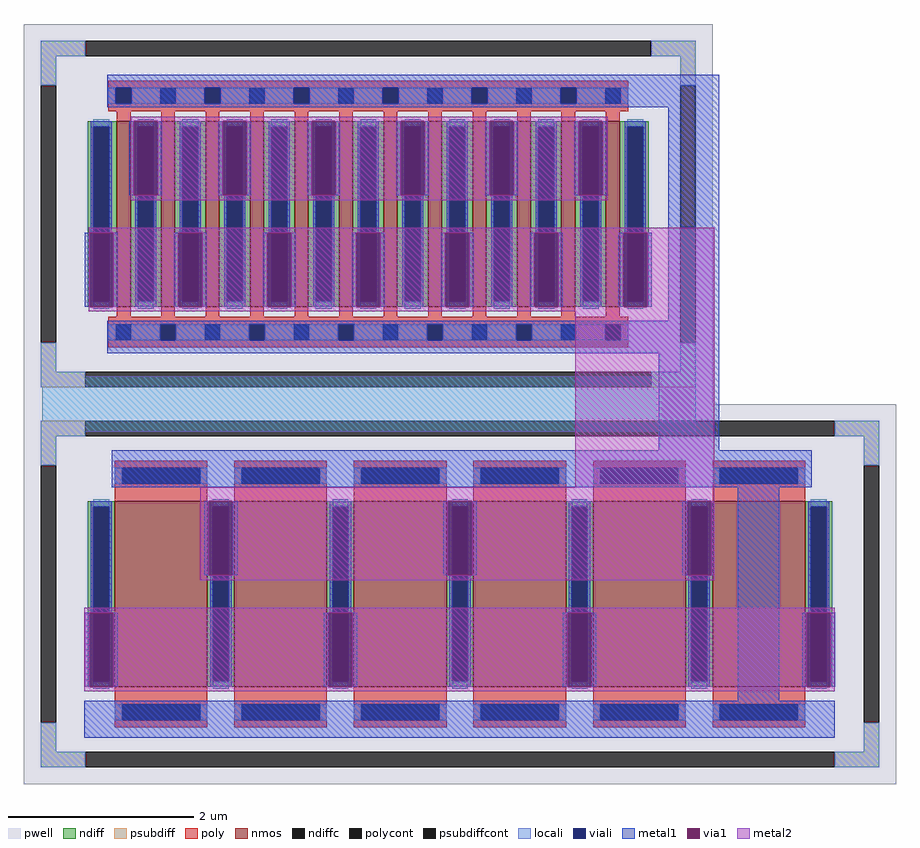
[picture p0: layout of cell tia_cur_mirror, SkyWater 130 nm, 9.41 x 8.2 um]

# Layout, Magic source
magic
tech sky130A
magscale 1 2
<< pwell >>
rect 122 552 1244 618
rect 122 42 1244 108
rect 130 -260 1640 -180
<< poly >>
rect 122 602 1244 618
rect 122 568 138 602
rect 172 568 330 602
rect 364 568 522 602
rect 556 568 714 602
rect 748 568 906 602
rect 940 568 1098 602
rect 1132 568 1244 602
rect 122 552 1244 568
rect 122 92 1244 108
rect 122 58 234 92
rect 268 58 426 92
rect 460 58 618 92
rect 652 58 810 92
rect 844 58 1002 92
rect 1036 58 1194 92
rect 1228 58 1244 92
rect 122 42 1244 58
<< polycont >>
rect 138 568 172 602
rect 330 568 364 602
rect 522 568 556 602
rect 714 568 748 602
rect 906 568 940 602
rect 1098 568 1132 602
rect 234 58 268 92
rect 426 58 460 92
rect 618 58 652 92
rect 810 58 844 92
rect 1002 58 1036 92
rect 1194 58 1228 92
<< locali >>
rect 122 568 138 602
rect 172 568 330 602
rect 364 568 522 602
rect 556 568 714 602
rect 748 568 906 602
rect 940 568 1098 602
rect 1132 568 1244 602
rect 122 58 234 92
rect 268 58 426 92
rect 460 58 618 92
rect 652 58 810 92
rect 844 58 1002 92
rect 1036 58 1194 92
rect 1228 58 1244 92
rect -20 -140 1390 -20
<< viali >>
rect 138 568 172 602
rect 330 568 364 602
rect 522 568 556 602
rect 714 568 748 602
rect 906 568 940 602
rect 1098 568 1132 602
rect 234 58 268 92
rect 426 58 460 92
rect 618 58 652 92
rect 810 58 844 92
rect 1002 58 1036 92
rect 1194 58 1228 92
<< metal1 >>
rect 120 602 1440 630
rect 120 568 138 602
rect 172 568 330 602
rect 364 568 522 602
rect 556 568 714 602
rect 748 568 906 602
rect 940 568 1098 602
rect 1132 568 1440 602
rect 120 560 1440 568
rect 167 370 177 530
rect 229 370 239 530
rect 359 370 369 530
rect 421 370 431 530
rect 551 370 561 530
rect 613 370 623 530
rect 743 370 753 530
rect 805 370 815 530
rect 935 370 945 530
rect 997 370 1007 530
rect 1127 370 1137 530
rect 1189 370 1199 530
rect 71 130 81 290
rect 133 130 143 290
rect 263 130 273 290
rect 325 130 335 290
rect 455 130 465 290
rect 517 130 527 290
rect 647 130 657 290
rect 709 130 719 290
rect 839 130 849 290
rect 901 130 911 290
rect 1031 130 1041 290
rect 1093 130 1103 290
rect 1223 130 1233 290
rect 1285 130 1295 290
rect 1330 100 1440 560
rect 120 92 1440 100
rect 120 58 234 92
rect 268 58 426 92
rect 460 58 618 92
rect 652 58 810 92
rect 844 58 1002 92
rect 1036 58 1194 92
rect 1228 58 1440 92
rect 120 30 1440 58
rect 1310 -180 1440 30
rect 130 -260 1640 -180
rect 329 -450 339 -290
rect 391 -450 401 -290
rect 845 -450 855 -290
rect 907 -450 917 -290
rect 1361 -450 1371 -290
rect 1423 -450 1430 -290
rect 71 -690 81 -530
rect 133 -690 143 -530
rect 587 -690 597 -530
rect 649 -690 659 -530
rect 1103 -690 1113 -530
rect 1165 -690 1175 -530
rect 1480 -720 1570 -260
rect 1619 -690 1629 -530
rect 1681 -690 1691 -530
rect 70 -800 1690 -720
<< via1 >>
rect 177 370 229 530
rect 369 370 421 530
rect 561 370 613 530
rect 753 370 805 530
rect 945 370 997 530
rect 1137 370 1189 530
rect 81 130 133 290
rect 273 130 325 290
rect 465 130 517 290
rect 657 130 709 290
rect 849 130 901 290
rect 1041 130 1093 290
rect 1233 130 1285 290
rect 339 -450 391 -290
rect 855 -450 907 -290
rect 1371 -450 1423 -290
rect 81 -690 133 -530
rect 597 -690 649 -530
rect 1113 -690 1165 -530
rect 1629 -690 1681 -530
<< metal2 >>
rect 170 530 1200 540
rect 170 370 177 530
rect 229 370 369 530
rect 421 370 561 530
rect 613 370 753 530
rect 805 370 945 530
rect 997 370 1137 530
rect 1189 370 1200 530
rect 170 360 1200 370
rect 80 290 1430 300
rect 80 130 81 290
rect 133 130 273 290
rect 325 130 465 290
rect 517 130 657 290
rect 709 130 849 290
rect 901 130 1041 290
rect 1093 130 1233 290
rect 1285 130 1430 290
rect 80 120 1430 130
rect 1130 -260 1430 120
rect 320 -290 1430 -260
rect 320 -450 339 -290
rect 391 -450 855 -290
rect 907 -450 1371 -290
rect 1423 -450 1430 -290
rect 320 -460 1430 -450
rect 70 -530 1690 -520
rect 70 -690 81 -530
rect 133 -690 597 -530
rect 649 -690 1113 -530
rect 1165 -690 1629 -530
rect 1681 -690 1690 -530
rect 70 -700 1690 -690
use sky130_fd_pr__nfet_01v8_854667  sky130_fd_pr__nfet_01v8_854667_0
transform 1 0 881 0 1 -490
box -941 -410 941 410
use sky130_fd_pr__nfet_01v8_F8VELN  sky130_fd_pr__nfet_01v8_F8VELN_0
transform 1 0 683 0 1 330
box -743 -410 743 410
<< end >>

# cell sky130_fd_pr__nfet_01v8_854667: kit device sky130_fd_pr__nfet_01v8, w 2 l 1 m 1 nf 6 diffcov 100 polycov 100 guard 1 glc 1 grc 1 gtc 1 gbc 1 tbcov 100 rlcov 100 topc 1 botc 1 poverlap 0 doverlap 1 lmin 0.15 wmin 0.42 compatible {sky130_fd_pr__nfet_01v8 sky130_fd_pr__nfet_01v8_lvt sky130_fd_bs_flash__special_sonosfet_star sky130_fd_pr__nfet_g5v0d10v5 sky130_fd_pr__nfet_05v0_nvt sky130_fd_pr__nfet_03v3_nvt} full_metal 1 viasrc 100 viadrn 100 viagate 100 viagb 0 viagr 0 viagl 0 viagt 0

# cell sky130_fd_pr__nfet_01v8_F8VELN: kit device sky130_fd_pr__nfet_01v8, w 2 l 0.150 m 1 nf 12 diffcov 100 polycov 100 guard 1 glc 1 grc 1 gtc 1 gbc 1 tbcov 100 rlcov 100 topc 1 botc 1 poverlap 0 doverlap 1 lmin 0.15 wmin 0.42 compatible {sky130_fd_pr__nfet_01v8 sky130_fd_pr__nfet_01v8_lvt sky130_fd_bs_flash__special_sonosfet_star sky130_fd_pr__nfet_g5v0d10v5 sky130_fd_pr__nfet_05v0_nvt sky130_fd_pr__nfet_03v3_nvt} full_metal 1 viasrc 100 viadrn 100 viagate 100 viagb 0 viagr 0 viagl 0 viagt 0
